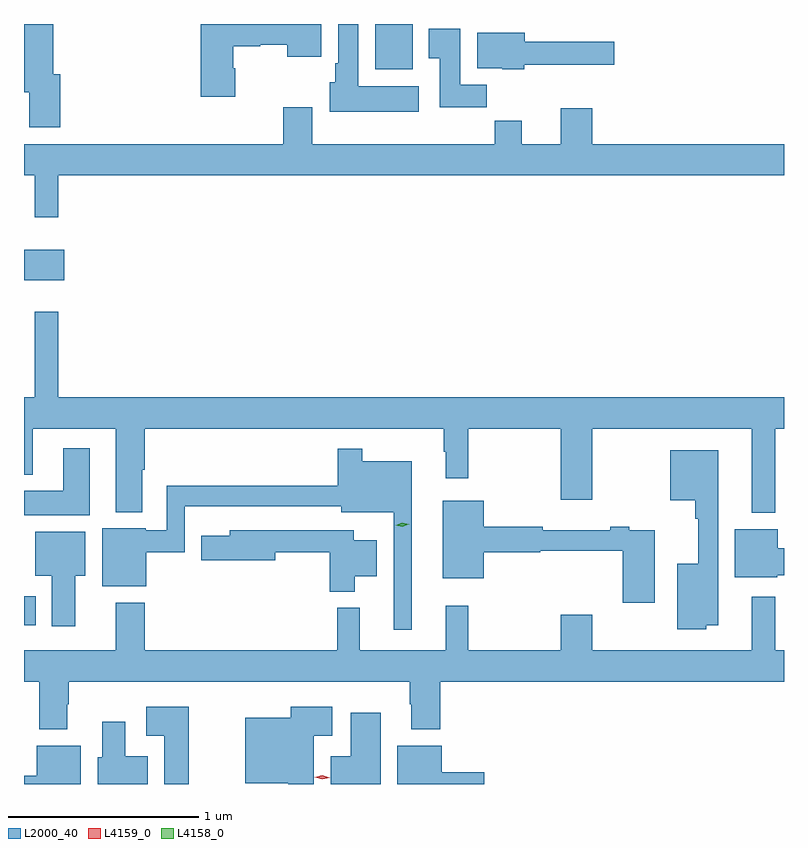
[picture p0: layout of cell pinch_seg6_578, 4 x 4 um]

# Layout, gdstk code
import gdstk
lib = gdstk.Library(unit=1e-6, precision=1e-09)
def R(c, l, rs):  # rectangles x0, y0, x1, y1
    for r in rs: c.add(gdstk.rectangle(r[:2], r[2:], *l))
def P(c, l, *ps):  # polygons
    for p in ps: c.add(gdstk.Polygon(p, *l))
L2000_40 = (2000, 40)
L4158_0 = (4158, 0)
L4159_0 = (4159, 0)

pinch_seg6_578 = lib.new_cell('pinch_seg6_578')
R(pinch_seg6_578, L2000_40, [(533.81,979.601,533.872,979.753), (533.81,981.416,534.022,981.577), (535.658,982.526,535.855,982.765)])
P(pinch_seg6_578, L2000_40, [(534.923,982.533),(534.91,982.533),(534.91,982.648),(535.053,982.648),(535.053,982.656),(535.196,982.656),(535.196,982.592),(535.375,982.592),(535.375,982.765),(534.886,982.765),(534.886,982.764),(534.74,982.764),(534.74,982.383),(534.923,982.383)],
  [(535.888,982.438),(535.57,982.438),(535.57,982.765),(535.463,982.765),(535.463,982.558),(535.448,982.558),(535.448,982.458),(535.418,982.458),(535.418,982.304),(535.888,982.304)],
  [(534.002,982.5),(533.965,982.5),(533.965,982.765),(533.81,982.765),(533.81,982.407),(533.837,982.407),(533.837,982.221),(534.002,982.221)],
  [(536.246,982.444),(536.107,982.444),(536.107,982.741),(535.94,982.741),(535.94,982.585),(535.997,982.585),(535.997,982.326),(536.246,982.326)],
  [(536.442,982.55),(536.917,982.55),(536.917,982.672),(536.446,982.672),(536.446,982.72),(536.195,982.72),(536.195,982.532),(536.328,982.532),(536.328,982.526),(536.442,982.526)],
  [(533.989,981.968),(537.81,981.968),(537.81,982.132),(536.8,982.132),(536.8,982.321),(536.636,982.321),(536.636,982.132),(536.431,982.132),(536.431,982.256),(536.287,982.256),(536.287,982.132),(535.327,982.132),(535.327,982.327),(535.175,982.327),(535.175,982.132),(533.81,982.132),(533.81,981.968),(533.867,981.968),(533.867,981.747),(533.989,981.747)],
  [(537.763,980.636),(537.81,980.636),(537.81,980.8),(533.989,980.8),(533.989,981.25),(533.867,981.25),(533.867,980.8),(533.81,980.8),(533.81,980.393),(533.857,980.393),(533.857,980.636),(534.293,980.636),(534.293,980.195),(534.433,980.195),(534.433,980.419),(534.446,980.419),(534.446,980.636),(536.019,980.636),(536.019,980.513),(536.03,980.513),(536.03,980.373),(536.147,980.373),(536.147,980.636),(536.636,980.636),(536.636,980.262),(536.8,980.262),(536.8,980.636),(537.641,980.636),(537.641,980.192),(537.763,980.192)],
  [(534.157,980.533),(534.017,980.533),(534.017,980.308),(533.81,980.308),(533.81,980.18),(534.157,980.18)],
  [(535.852,980.464),(535.591,980.464),(535.591,980.53),(535.462,980.53),(535.462,980.335),(534.561,980.335),(534.561,980.1),(534.45,980.1),(534.45,980.11),(534.221,980.11),(534.221,979.805),(534.454,979.805),(534.454,979.984),(534.657,979.984),(534.657,980.226),(535.481,980.226),(535.481,980.195),(535.755,980.195),(535.755,979.578),(535.852,979.578)],
  [(537.402,979.601),(537.463,979.601),(537.463,980.521),(537.212,980.521),(537.212,980.258),(537.342,980.258),(537.342,980.162),(537.359,980.162),(537.359,979.924),(537.248,979.924),(537.248,979.58),(537.402,979.58)],
  [(537.13,980.1),(536.996,980.1),(536.996,980.12),(536.896,980.12),(536.896,980.101),(536.54,980.101),(536.54,980.12),(536.23,980.12),(536.23,980.257),(536.015,980.257),(536.015,979.847),(536.23,979.847),(536.23,979.984),(536.526,979.984),(536.526,979.992),(536.96,979.992),(536.96,979.719),(537.13,979.719)],
  [(537.774,979.864),(537.81,979.864),(537.81,980.006),(537.778,980.006),(537.778,980.107),(537.551,980.107),(537.551,979.853),(537.774,979.853)],
  [(535.552,979.859),(535.666,979.859),(535.666,980.047),(535.546,980.047),(535.546,980.1),(534.893,980.1),(534.893,980.071),(534.744,980.071),(534.744,979.942),(535.132,979.942),(535.132,979.984),(535.418,979.984),(535.418,979.778),(535.552,979.778)],
  [(534.079,979.862),(534.133,979.862),(534.133,980.092),(533.87,980.092),(533.87,979.862),(533.957,979.862),(533.957,979.596),(534.079,979.596)],
  [(535.577,979.693),(535.459,979.693),(535.459,979.468),(534.446,979.468),(534.446,979.72),(534.293,979.72),(534.293,979.468),(533.81,979.468),(533.81,979.304),(533.89,979.304),(533.89,979.052),(534.037,979.052),(534.037,979.184),(534.045,979.184),(534.045,979.304),(535.84,979.304),(535.84,979.184),(535.847,979.184),(535.847,979.052),(536,979.052),(536,979.304),(537.81,979.304),(537.81,979.468),(537.763,979.468),(537.763,979.75),(537.641,979.75),(537.641,979.468),(536.8,979.468),(536.8,979.657),(536.636,979.657),(536.636,979.468),(536.147,979.468),(536.147,979.702),(536.03,979.702),(536.03,979.468),(535.577,979.468)],
  [(535.336,979.019),(535.432,979.019),(535.432,979.171),(535.214,979.171),(535.214,979.114),(534.974,979.114),(534.974,978.77),(535.202,978.77),(535.202,978.765),(535.336,978.765)],
  [(534.678,979.171),(534.453,979.171),(534.453,979.019),(534.548,979.019),(534.548,978.765),(534.678,978.765)],
  [(535.687,979.141),(535.529,979.141),(535.529,978.91),(535.424,978.91),(535.424,978.765),(535.687,978.765)],
  [(534.46,978.91),(534.343,978.91),(534.343,979.093),(534.221,979.093),(534.221,978.906),(534.197,978.906),(534.197,978.765),(534.46,978.765)],
  [(536.233,978.828),(536.008,978.828),(536.008,978.967),(535.775,978.967),(535.775,978.765),(536.233,978.765)],
  [(534.109,978.967),(533.876,978.967),(533.876,978.809),(533.81,978.809),(533.81,978.765),(534.109,978.765)])
P(pinch_seg6_578, L4158_0, [(535.802,980.12),(535.766,980.127),(535.765,980.127),(535.766,980.128),(535.8,980.14),(535.836,980.133),(535.837,980.132),(535.836,980.132)])
P(pinch_seg6_578, L4159_0, [(535.38,978.79),(535.341,978.801),(535.341,978.801),(535.341,978.801),(535.38,978.81),(535.419,978.799),(535.419,978.798),(535.419,978.798)])

lib.write_gds('pinch_seg6_578.gds')
